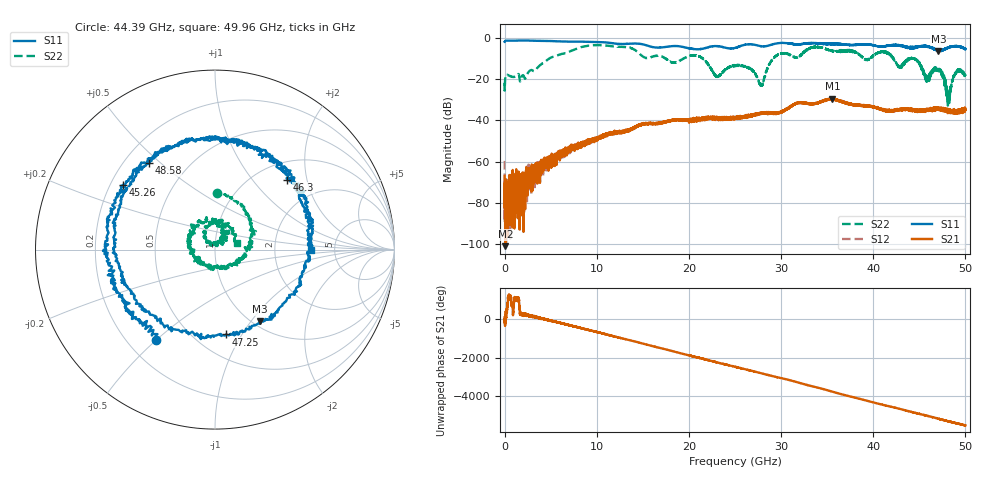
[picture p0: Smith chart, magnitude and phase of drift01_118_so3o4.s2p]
!Created with skrf (http://scikit-rf.org).
# Hz S RI R 50.0
!freq ReS11 ImS11 ReS21 ImS21 ReS12 ImS12 ReS22 ImS22
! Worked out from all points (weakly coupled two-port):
!   10001 points, 300 kHz to 50 GHz, reference 50 ohm
!   highest |S21| = -29.49 dB at 35.57 GHz (marker M1); lowest = -100.9 dB at 90.3 MHz (marker M2)
!   lowest |S11| = -6.6 dB at 47.08 GHz (marker M3), VSWR 2.78, Z = 53.8 - j55.1 ohm
!   |S11| at or under -10 dB: nowhere
!   |S22| runs from -32.9 to -3.6 dB; largest |S21 - S12| = 0.0036
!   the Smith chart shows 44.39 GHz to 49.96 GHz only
!   S11 on the Smith chart (normalised r, x): 44.39 GHz: 0.32, -0.50; 45.26 GHz: 0.25, +0.30; 46.3 GHz: 1.35, +1.53; 47.25 GHz: 0.70, -0.86; 48.58 GHz: 0.30, +0.46; 49.96 GHz: 3.30, -0.01
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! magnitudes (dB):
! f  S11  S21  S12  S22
! 300 kHz  -2.1  -67.0  -59.6  -21.9
! 90.3 MHz  -1.5  -100.9  -75.1  -18.9
! 2 GHz  -1.4  -70.7  -69.8  -18.1
! 8.335 GHz  -1.9  -51.8  -52.4  -4.5
! 16.67 GHz  -4.8  -41.5  -41.4  -8.7
! 20.97 GHz  -5.6  -39.2  -39.3  -8.8
! 23.08 GHz  -4.1  -39.1  -38.7  -18.7
! 25 GHz  -5.0  -39.0  -38.9  -13.5
! 27.85 GHz  -4.2  -36.5  -36.4  -23.1
! 29.47 GHz  -2.8  -36.6  -36.5  -8.8
! 33.34 GHz  -2.6  -32.0  -32.0  -4.7
! 35.57 GHz  -2.9  -29.5  -29.6  -6.4
! 41.67 GHz  -3.8  -35.6  -35.2  -7.8
! 44.39 GHz  -4.4  -35.2  -35.1  -10.0
! 45.26 GHz  -4.0  -35.5  -35.7  -14.6
! 46.3 GHz  -5.0  -34.8  -34.5  -16.6
! 47.08 GHz  -6.6  -34.6  -34.3  -16.2
! 47.25 GHz  -6.4  -34.3  -34.5  -17.1
! 48.12 GHz  -4.9  -35.9  -35.6  -29.8
! 48.58 GHz  -4.3  -36.1  -35.6  -20.9
! 49.96 GHz  -5.4  -34.8  -34.8  -18.0
! 50 GHz  -5.5  -34.8  -35.2  -18.6
